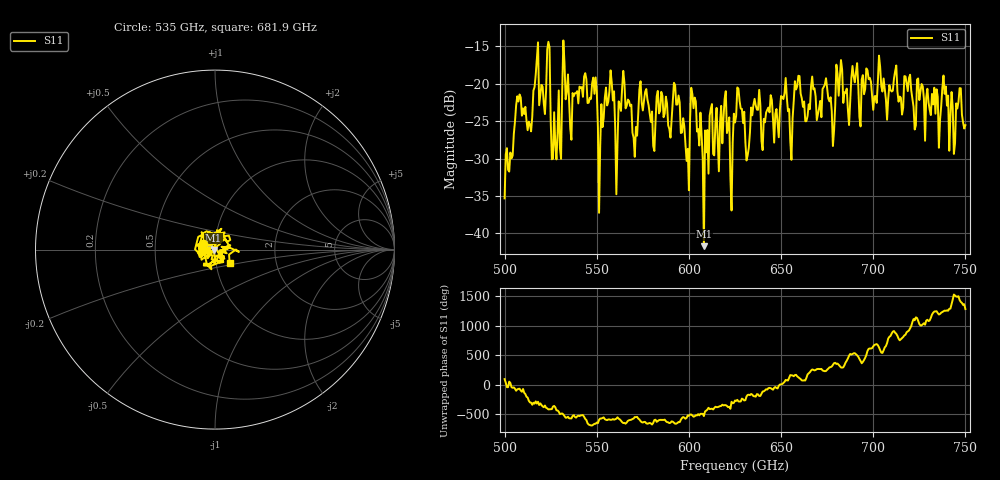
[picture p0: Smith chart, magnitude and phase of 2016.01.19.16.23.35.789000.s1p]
!Created with skrf (http://scikit-rf.org).
# GHz S RI R 50.0
!freq ReS11 ImS11
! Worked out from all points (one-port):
!   401 points, 500 GHz to 750 GHz, reference 50 ohm
!   lowest |S11| = -41.7 dB at 608.1 GHz (marker M1), VSWR 1.02, Z = 49.2 - j0.163 ohm
!   |S11| at or under -10 dB: start of sweep to end of sweep
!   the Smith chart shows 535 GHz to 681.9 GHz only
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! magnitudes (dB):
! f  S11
! 500 GHz  -35.3
! 507.5 GHz  -22.4
! 513.8 GHz  -25.5
! 516.9 GHz  -18.8
! 523.8 GHz  -14.4
! 526.9 GHz  -23.8
! 531.2 GHz  -20.9
! 548.8 GHz  -21.4
! 551.9 GHz  -28.3
! 556.2 GHz  -22.4
! 562.5 GHz  -22.8
! 570.6 GHz  -29.8
! 574.4 GHz  -22.6
! 580.6 GHz  -28.3
! 593.8 GHz  -22.8
! 598.8 GHz  -30.3
! 602.5 GHz  -23.3
! 608.1 GHz  -41.7
! 618.8 GHz  -24.6
! 623.8 GHz  -27.9
! 625 GHz  -25.2
! 631.9 GHz  -29.6
! 636.9 GHz  -23.5
! 656.2 GHz  -24.6
! 658.8 GHz  -20.4
! 687.5 GHz  -22.2
! 718.8 GHz  -21.0
! 750 GHz  -25.5
